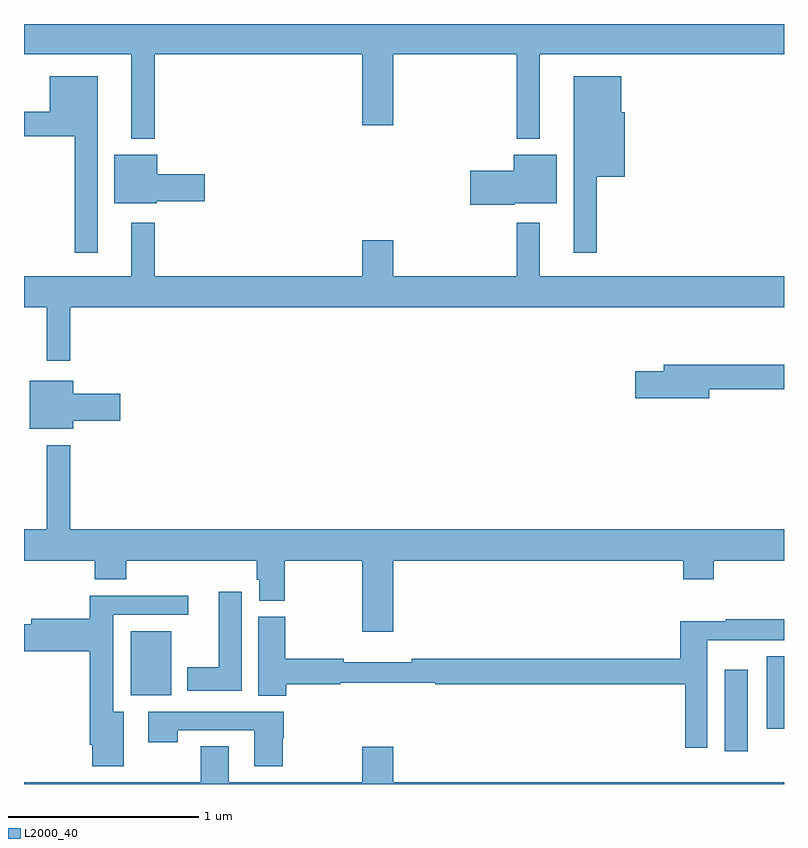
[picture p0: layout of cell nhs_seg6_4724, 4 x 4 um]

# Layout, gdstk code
import gdstk
lib = gdstk.Library(unit=1e-6, precision=1e-09)
def R(c, l, rs):  # rectangles x0, y0, x1, y1
    for r in rs: c.add(gdstk.rectangle(r[:2], r[2:], *l))
def P(c, l, *ps):  # polygons
    for p in ps: c.add(gdstk.Polygon(p, *l))
L2000_40 = (2000, 40)

nhs_seg6_4724 = lib.new_cell('nhs_seg6_4724')
R(nhs_seg6_4724, L2000_40, [(394.688,939.672,394.81,940.102), (394.91,939.792,395,940.172), (391.562,939.968,391.774,940.303)])
P(nhs_seg6_4724, L2000_40, [(395,943.5),(391,943.5),(391,943.34),(391.565,943.34),(391.565,942.896),(391.687,942.896),(391.687,943.34),(392.78,943.34),(392.78,942.966),(392.944,942.966),(392.944,943.34),(393.594,943.34),(393.594,942.896),(393.715,942.896),(393.715,943.34),(395,943.34)],
  [(391.387,943.225),(391.136,943.225),(391.136,943.039),(391,943.039),(391,942.91),(391.268,942.91),(391.268,942.621),(391.266,942.621),(391.266,942.297),(391.387,942.297)],
  [(394.015,942.695),(394.162,942.695),(394.162,943.035),(394.144,943.035),(394.144,943.225),(393.893,943.225),(393.893,942.297),(394.015,942.297)],
  [(393.582,942.557),(393.805,942.557),(393.805,942.811),(393.578,942.811),(393.578,942.728),(393.348,942.728),(393.348,942.55),(393.582,942.55)],
  [(391.698,942.568),(391.951,942.568),(391.951,942.71),(391.702,942.71),(391.702,942.811),(391.475,942.811),(391.475,942.557),(391.698,942.557)],
  [(391.243,942.008),(395,942.008),(395,942.172),(393.715,942.172),(393.715,942.454),(393.594,942.454),(393.594,942.172),(392.944,942.172),(392.944,942.361),(392.78,942.361),(392.78,942.172),(391.687,942.172),(391.687,942.454),(391.565,942.454),(391.565,942.172),(391,942.172),(391,942.008),(391.121,942.008),(391.121,941.727),(391.243,941.727)],
  [(394.606,941.578),(395,941.578),(395,941.707),(394.367,941.707),(394.367,941.673),(394.218,941.673),(394.218,941.531),(394.606,941.531)],
  [(391.258,941.411),(391.507,941.411),(391.507,941.553),(391.258,941.553),(391.258,941.623),(391.031,941.623),(391.031,941.369),(391.258,941.369)],
  [(392.944,940.676),(394.469,940.676),(394.469,940.577),(394.629,940.577),(394.629,940.676),(395,940.676),(395,940.84),(391.243,940.84),(391.243,941.284),(391.121,941.284),(391.121,940.84),(391,940.84),(391,940.676),(391.373,940.676),(391.373,940.577),(391.538,940.577),(391.538,940.676),(392.225,940.676),(392.225,940.575),(392.237,940.575),(392.237,940.465),(392.373,940.465),(392.373,940.676),(392.78,940.676),(392.78,940.302),(392.944,940.302)],
  [(392.146,940.513),(392.024,940.513),(392.024,940.114),(391.859,940.114),(391.859,939.992),(392.146,939.992)],
  [(391.525,939.88),(391.471,939.88),(391.471,940.392),(391.864,940.392),(391.864,940.49),(391.346,940.49),(391.346,940.371),(391.037,940.371),(391.037,940.341),(391,940.341),(391,940.199),(391.346,940.199),(391.346,939.706),(391.358,939.706),(391.358,939.594),(391.525,939.594)],
  [(394.596,940.256),(394.806,940.256),(394.806,940.257),(395,940.257),(395,940.366),(394.693,940.366),(394.693,940.356),(394.454,940.356),(394.454,940.16),(393.04,940.16),(393.04,940.141),(392.684,940.141),(392.684,940.16),(392.376,940.16),(392.376,940.38),(392.234,940.38),(392.234,939.964),(392.381,939.964),(392.381,940.024),(392.664,940.024),(392.664,940.032),(393.164,940.032),(393.164,940.024),(394.48,940.024),(394.48,939.69),(394.596,939.69)],
  [(392.361,939.741),(392.366,939.741),(392.366,939.879),(391.653,939.879),(391.653,939.72),(391.809,939.72),(391.809,939.783),(392.213,939.783),(392.213,939.594),(392.361,939.594)],
  [(395,939.508),(392.944,939.508),(392.944,939.697),(392.78,939.697),(392.78,939.508),(392.077,939.508),(392.077,939.698),(391.93,939.698),(391.93,939.508),(391,939.508),(391,939.5),(395,939.5)])

lib.write_gds('nhs_seg6_4724.gds')
